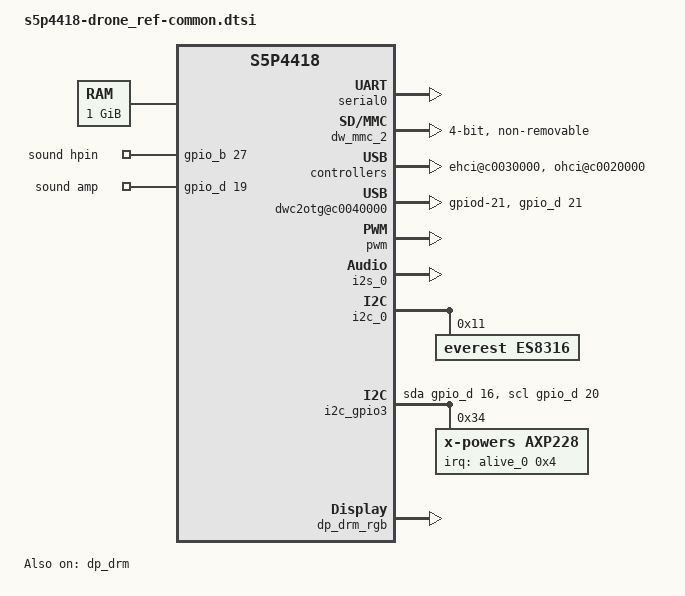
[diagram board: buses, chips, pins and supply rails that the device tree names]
/*
 * Copyright (C) 2021  Nexell Co., Ltd.
 * Author: Jongshin park <pjsin865@coasia.com>
 *
 * This program is free software; you can redistribute it and/or
 * modify it under the terms of the GNU General Public License
 * as published by the Free Software Foundation; either version 2
 * of the License, or (at your option) any later version.
 *
 * This program is distributed in the hope that it will be useful,
 * but WITHOUT ANY WARRANTY; without even the implied warranty of
 * MERCHANTABILITY or FITNESS FOR A PARTICULAR PURPOSE.  See the
 * GNU General Public License for more details.
 *
 * You should have received a copy of the GNU General Public License
 * along with this program.  If not, see <http://www.gnu.org/licenses/>.
 */

#include <dt-bindings/interrupt-controller/irq.h>
#include <dt-bindings/gpio/gpio.h>
#include <dt-bindings/input/input.h>
#include "s5p4418.dtsi"

/ {
	memory {
		device_type = "memory";
		reg = <0x71000000 0x40000000>;
	};

	aliases {
		i2c3 = &i2c_gpio3;
	};

	soc {
		#include "s5p4418-pinctrl.dtsi"
		clocks {
			uart0:uart@c00a9000 { clock-frequency = <147500000>; };
			i2c0:i2c@c00ae000  { clock-frequency = <200000000>; };
		};

		serial0:serial@c00a1000 {
			status ="okay";
		};

		amba {
			pl08xdma0:pl08xdma@c0000000 {
				use_isr;
			};

			pl08xdma1:pl08xdma@c0001000 {
				use_isr;
			};
		};

		dw_mmc_2:dw_mmc@c0069000 {
			num-slots = <1>;
			bus-width = <4>;
			cap-mmc-highspeed;
			broken-cd;
			non-removable;
			clock-frequency = <100000000>;
			card-detect-delay = <200>;
			disable-wp;
			status = "okay";
			nexell,drive_dly = <0x0>;
			nexell,drive_shift = <0x03>;
			nexell,sample_dly = <0x00>;
			nexell,sample_shift = <0x2>;
		};

		dw_mmc_0:dw_mmc@c0062000 {
			num-slots = <1>;
			bus-width = <4>;
			cap-sd-highspeed;
			clock-frequency = <100000000>;
			card-detect-delay = <200>;
			disable-wp;
			cd-gpios = <&alive_0 1>;
			cd-inverted;
			nexell,drive_dly = <0x0>;
			nexell,drive_shift = <0x03>;
			nexell,sample_dly = <0x00>;
			nexell,sample_shift = <0x02>;
			status = "disabled";
		};

		watchdog@c0019000 {
			status = "okay";
		};

		rtc@c0010c00 {
			status = "okay";
		};

		nexell_usbphy: nexell-usbphy@c0012000 {
			status = "okay";
		};

		ehci@c0030000 {
			//samsung,vbus-gpio = <&gpio_d 21 0>;
			status = "okay";
			port@0 {
				status = "okay";
			};
		};

		ohci@c0020000 {
			status = "okay";
			port@0 {
				status = "okay";
			};
		};

		dwc2otg@c0040000 {
			pinctrl-names = "default";
			pinctrl-0 = <&otg_pwron>;
			gpios = <&gpio_d 21 0>;
			nouse_idcon = <1>;
			status = "okay";
		};

		pwm:pwm@c0018000 {
			status = "okay";
		};

		i2s_0:i2s@c0055000 {
			master-mode = <1>;
			mclk-in = <0>;
			trans-mode = <0>;
			frame-bit = <32>;
			sample-rate = <48000>;
			pre-supply-mclk = <1>;
			status = "okay";
		};

		i2c_0:i2c@c00a4000 {
			status = "okay";
			#address-cells = <1>;
			#size-cells = <0>;

			es8316: es8316@11 {
				compatible = "everest,es8316";
				reg = <0x11>;
			};
		};

		pinctrl@C0010000 {
			pinctrl-names = "default";
			pinctrl-0 = <&initial>;

			initial: initial-state {
				PIN_OUT(gpiod-21, LOW, FUNC0, NONE, STR3);
			};

			otg_pwron:otg_pwron {
				nexell,pins = "gpiod-21";
				nexell,pin-function = <0>;
				nexell,pin-pull = <0>;
				nexell,pin-strength = <3>;
			};
		};
	};	/*** soc ***/

	sound {
		compatible = "nexell,nexell-es8316";
		ch = <0>;
		sample-rate = <48000>;
		format = "S16";
		hpin-support = <1>;
		hpin-gpio = <&gpio_b 27 0>;
		hpin-level = <1>;
		amp-gpio = <&gpio_d 19 0>;
		i2s-controller = <&i2s_0>;
		audio-codec = <&es8316>;
	};

	i2c_gpio3: i2c@3 {
		compatible = "i2c-gpio";
		gpios = <&gpio_d 16 0 /* sda */
			&gpio_d 20 0>; /* scl */
		i2c-gpio,delay-us = <1>;
		#address-cells = <1>;
		#size-cells = <0>;

		axp228@34 {
			compatible = "x-powers,axp228";
			reg = <0x34>;
			interrupt-parent = <&alive_0>;
			interrupts = <0x4 IRQ_TYPE_EDGE_FALLING>;
			nx,id = <0>;
			#include "s5p4418-drone_ref-axp228.dtsi"
		};
	};
};

&dp_drm {
	status = "okay";
	ports {
		port@0 {
			reg = <0>;
			back_color = < 0x0 >;
			color_key = < 0x0 >;
			plane-names = "rgb", "primary", "video";
		};
		port@1 {
			reg = <1>;
			back_color = < 0x0 >;
			color_key = < 0xff00ff >;
			plane-names = "primary", "video";
		};
	};
};

&dp_drm_rgb {
	status = "ok";
	pinctrl-names = "default";
	pinctrl-0 = <&dp_rgb_vclk &dp_rgb_vsync &dp_rgb_hsync
	&dp_rgb_de &dp_rgb_R &dp_rgb_G &dp_rgb_B>;
	/* enable-gpios = <&gpio_c 2 0>; */
	/* remote-endpoint = <&rgb_panel>; */
	/* panel-mpu = <0>; */
	/* crtcs-possible-mask = <0x1>; */

	display-timing {
		clock-frequency = <88000000>;

		hactive = <1024>;
		vactive = <600>;

		hback-porch = <30>;
		hfront-porch = <30>;
		hsync-len = <4>;

		vback-porch = <10>;
		vfront-porch = <10>;
		vsync-len = <2>;

		hsync-active = <1>;
		vsync-active = <1>;
		pixelclk-active = <1>;
		de-active = <1>;
	};

	dp_control {
		clk_src_lv0 = <1>;
		clk_div_lv0 = <9>;
		clk_src_lv1 = <7>;
		clk_div_lv1 = <1>;
		out_format = <3>;
	};
};

&dp_drm_hdmi {
	ddc-i2c-bus = <&i2c_2>;
	status = "disabled";
};

